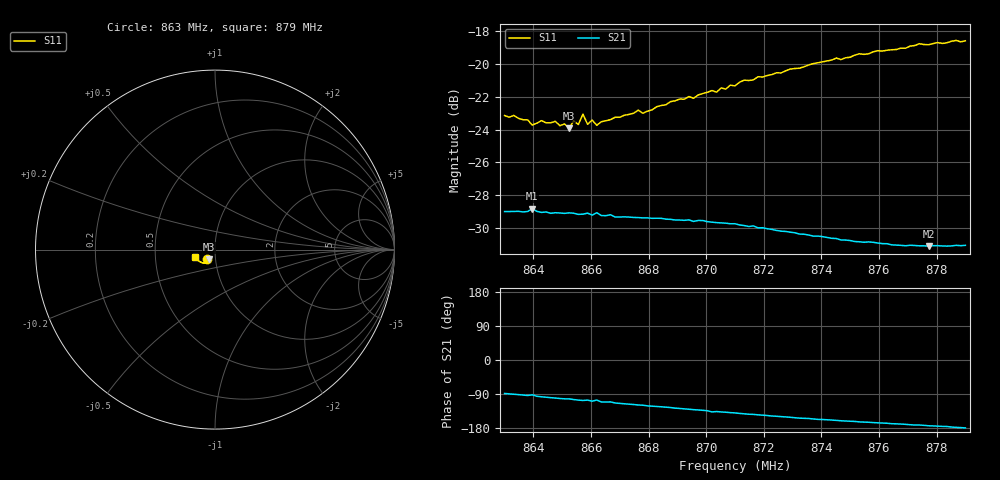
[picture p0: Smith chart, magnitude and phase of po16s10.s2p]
# HZ S RI R 50
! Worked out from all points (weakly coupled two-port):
!   101 points, 863 MHz to 879 MHz, reference 50 ohm
!   highest |S21| = -28.82 dB at 863.96 MHz (marker M1); lowest = -31.1 dB at 877.72 MHz (marker M2)
!   lowest |S11| = -23.9 dB at 865.24 MHz (marker M3), VSWR 1.14, Z = 46.5 - j5.04 ohm
!   |S11| at or under -10 dB: start of sweep to end of sweep
!   S12 and S22 are empty: the file has one direction only
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8.63e8  -0.0442 -0.0537  0.00111 -0.0355  0 0  0 0
8.638e8  -0.0419 -0.0529  -0.00228 -0.0355  0 0  0 0
8.6396e8  -0.0363 -0.0541  -0.00121 -0.0362  0 0  0 0
8.6428e8  -0.0397 -0.0542  -0.00435 -0.035  0 0  0 0
8.6476e8  -0.0394 -0.0539  -0.00635 -0.0347  0 0  0 0
8.6524e8  -0.0337 -0.054  -0.00765 -0.0344  0 0  0 0
8.654e8  -0.0372 -0.0558  -0.00872 -0.034  0 0  0 0
8.6556e8  -0.0369 -0.0539  -0.00947 -0.0335  0 0  0 0
8.6572e8  -0.0392 -0.0583  -0.0101 -0.0334  0 0  0 0
8.6588e8  -0.0333 -0.0564  -0.00959 -0.0338  0 0  0 0
8.6604e8  -0.0394 -0.0547  -0.0111 -0.0328  0 0  0 0
8.662e8  -0.0306 -0.0574  -0.00953 -0.0339  0 0  0 0
8.6684e8  -0.0352 -0.0591  -0.0136 -0.0314  0 0  0 0
8.6764e8  -0.0362 -0.0626  -0.0164 -0.0299  0 0  0 0
8.678e8  -0.0352 -0.0613  -0.0166 -0.0297  0 0  0 0
8.6844e8  -0.0372 -0.0648  -0.0187 -0.0283  0 0  0 0
8.71e8  -0.0466 -0.0719  -0.0248 -0.0212  0 0  0 0
8.7132e8  -0.0505 -0.0735  -0.0254 -0.0198  0 0  0 0
8.7372e8  -0.0666 -0.0748  -0.0272 -0.0124  0 0  0 0
8.7644e8  -0.0913 -0.062  -0.0275 -0.0058  0 0  0 0
8.7772e8  -0.1013 -0.053  -0.0277 -0.00313  0 0  0 0
8.79e8  -0.1106 -0.0396  -0.028 -0.000375  0 0  0 0
